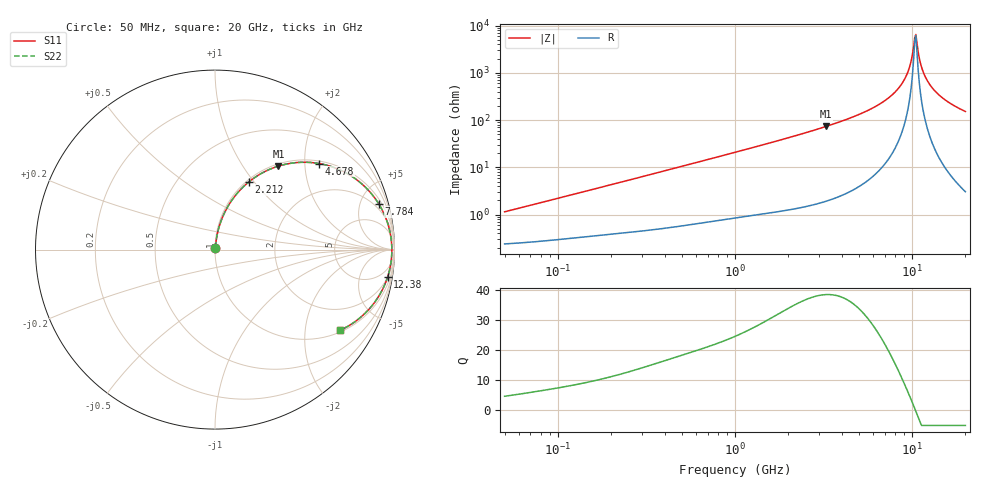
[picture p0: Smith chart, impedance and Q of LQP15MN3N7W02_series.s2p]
!Murata Part Number: LQP15MN3N7W02
!These Parameters are Measured in Series Mode Connection
!  o--[Z]--o
!Port1  Port2
!  o-------o
!Freq. Start=50[MHz] Stop=20[GHz], 401[Steps]
# Hz S RI R 50
!Freq.(Hz) S11(Real) S11(Imag) S21(Real) S21(Imag) S12(Real) S12(Imag) S22(Real) S22(Imag)
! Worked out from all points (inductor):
!   401 points, 50 MHz to 20 GHz, reference 50 ohm
!   read as one part in series: L = 3.53 nH near 51.52 MHz
!   highest Q = 38.4 at 3.265 GHz (marker M1), where L = 3.57 nH
!   self-resonance near 10.35 GHz
!   S11 on the Smith chart (normalised r, x): 50 MHz: 1.00, +0.02; 2.212 GHz: 1.03, +0.94; 4.678 GHz: 1.07, +2.37; 7.784 GHz: 1.41, +7.03; 12.38 GHz: 2, -12; 20 GHz: 1.06, -3.04
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5e7  0.0025 0.0111  0.9975 -0.0111  0.9975 -0.0111  0.0025 0.0111
1.364002e8  0.00416 0.0293  0.9958 -0.0293  0.9958 -0.0293  0.00416 0.0293
3.721004e8  0.0109 0.077  0.9891 -0.077  0.9891 -0.077  0.0109 0.077
1e9  0.0486 0.1956  0.9514 -0.1956  0.9514 -0.1956  0.0486 0.1956
2.211938e9  0.188 0.3768  0.812 -0.3768  0.812 -0.3768  0.188 0.3768
2.728004e9  0.2661 0.4288  0.7339 -0.4288  0.7339 -0.4288  0.2661 0.4288
3.265178e9  0.3531 0.4651  0.6469 -0.4651  0.6469 -0.4651  0.3531 0.4651
4.677679e9  0.581 0.4794  0.419 -0.4794  0.419 -0.4794  0.581 0.4794
6.125241e9  0.7721 0.4017  0.2279 -0.4017  0.2279 -0.4017  0.7721 0.4017
7.442007e9  0.8906 0.2872  0.1094 -0.2872  0.1094 -0.2872  0.8906 0.2872
7.784049e9  0.9127 0.2544  0.0873 -0.2544  0.0873 -0.2544  0.9127 0.2544
8.644534e9  0.954 0.1702  0.046 -0.1702  0.046 -0.1702  0.954 0.1702
9.316812e9  0.9735 0.105  0.0265 -0.105  0.0265 -0.105  0.9735 0.105
9.745021e9  0.9808 0.0646  0.0192 -0.0646  0.0192 -0.0646  0.9808 0.0646
1.019291e10  0.9847 0.0236  0.0153 -0.0236  0.0153 -0.0236  0.9847 0.0236
1.050288e10  0.9854 -0.00394  0.0146 0.00394  0.0146 0.00394  0.9854 -0.00394
1.066139e10  0.9851 -0.0177  0.0149 0.0177  0.0149 0.0177  0.9851 -0.0177
1.115139e10  0.9821 -0.0588  0.0179 0.0588  0.0179 0.0588  0.9821 -0.0588
1.149051e10  0.9782 -0.086  0.0218 0.086  0.0218 0.086  0.9782 -0.086
1.238412e10  0.9619 -0.1524  0.0381 0.1524  0.0381 0.1524  0.9619 -0.1524
1.504638e10  0.8805 -0.3056  0.1195 0.3056  0.1195 0.3056  0.8805 -0.3056
2e10  0.6946 -0.4507  0.3054 0.4507  0.3054 0.4507  0.6946 -0.4507
